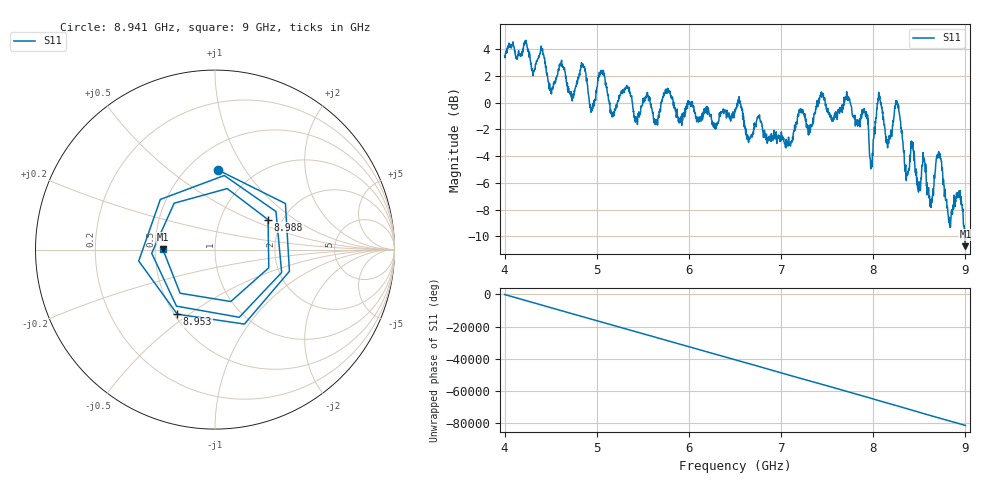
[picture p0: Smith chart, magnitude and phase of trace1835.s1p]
! Created with skrf 1.8.0 (http://scikit-rf.org).
# Hz S RI R 50.0
!freq ReS11 ImS11
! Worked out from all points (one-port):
!   1601 points, 4 GHz to 9 GHz, reference 50 ohm
!   lowest |S11| = -10.7 dB at 9 GHz (marker M1), VSWR 1.82, Z = 27.5 + j0.0377 ohm
!   |S11| at or under -10 dB: 8.991008 GHz to end of sweep
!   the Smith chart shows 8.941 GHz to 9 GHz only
!   S11 on the Smith chart (normalised r, x): 8.941 GHz: 0.69, +0.76; 8.953 GHz: 0.52, -0.45; 8.988 GHz: 1.69, +0.64; 9 GHz: 0.55, +0.00
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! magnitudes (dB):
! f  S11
! 4 GHz  3.5
! 4.406 GHz  4.0
! 4.509 GHz  0.7
! 4.625 GHz  2.8
! 4.728 GHz  0.5
! 4.853 GHz  2.7
! 4.941 GHz  -0.5
! 5.053 GHz  2.4
! 5.169 GHz  -1.1
! 5.25 GHz  0.5
! 5.875 GHz  -1.1
! 6.5 GHz  -0.7
! 7.125 GHz  -2.6
! 7.75 GHz  0.0
! 7.919 GHz  -1.1
! 7.978 GHz  -4.9
! 8.062 GHz  0.7
! 8.159 GHz  -2.8
! 8.259 GHz  -0.1
! 8.375 GHz  -5.4
! 8.55 GHz  -4.4
! 8.628 GHz  -7.9
! 8.712 GHz  -3.7
! 8.825 GHz  -8.6
! 8.941 GHz  -7.1
! 8.953 GHz  -7.6
! 8.988 GHz  -9.4
! 9 GHz  -10.7
